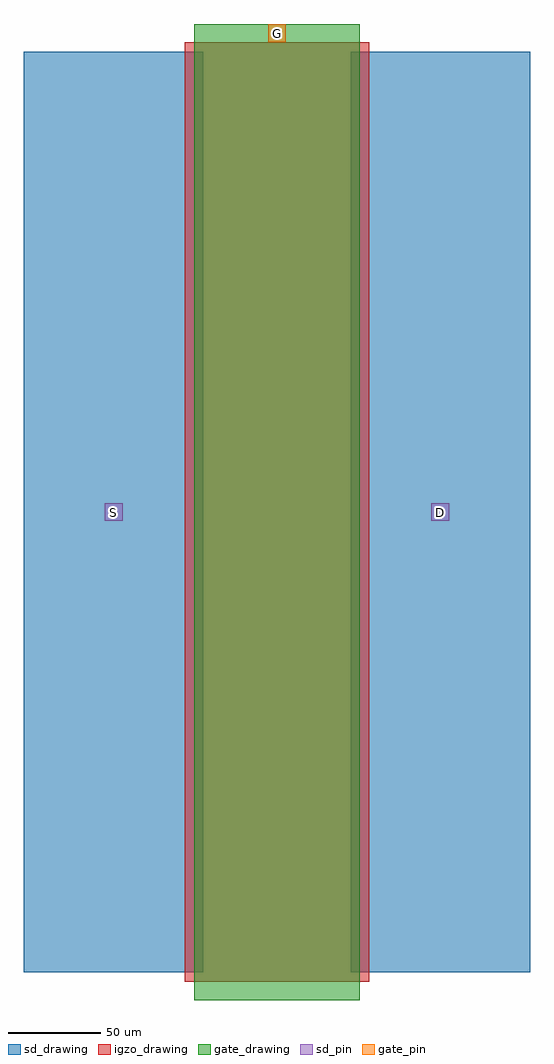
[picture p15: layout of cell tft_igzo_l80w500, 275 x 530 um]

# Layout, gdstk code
import gdstk
lib = gdstk.Library(unit=1e-6, precision=1e-09)
def R(c, l, rs):  # rectangles x0, y0, x1, y1
    for r in rs: c.add(gdstk.rectangle(r[:2], r[2:], *l))
gate_drawing = (2, 0)
gate_pin = (2, 10)
igzo_drawing = (4, 0)
sd_drawing = (6, 0)
sd_pin = (6, 10)

tft_igzo_l80w500 = lib.new_cell('tft_igzo_l80w500')
R(tft_igzo_l80w500, gate_drawing, [(-45,-265,45,265)])
R(tft_igzo_l80w500, gate_pin, [(-4.88,255.12,4.88,264.88)])
R(tft_igzo_l80w500, igzo_drawing, [(-50,-255,50,255)])
R(tft_igzo_l80w500, sd_drawing, [(-137.5,-250,-40,250), (40,-250,137.5,250)])
R(tft_igzo_l80w500, sd_pin, [(-93.63,-4.88,-83.87,4.88), (83.87,-4.88,93.63,4.88)])
tft_igzo_l80w500.add(gdstk.Label('S', (-88.75,0), layer=6, texttype=10))
tft_igzo_l80w500.add(gdstk.Label('D', (88.75,0), layer=6, texttype=10))
tft_igzo_l80w500.add(gdstk.Label('G', (0,260), layer=2, texttype=10))

lib.write_gds('tft_igzo_l80w500.gds')
